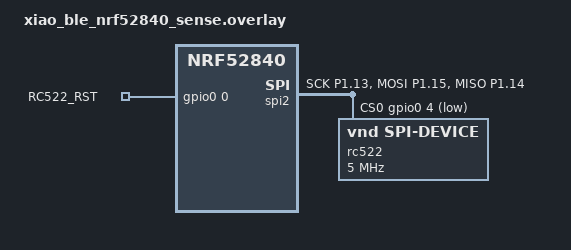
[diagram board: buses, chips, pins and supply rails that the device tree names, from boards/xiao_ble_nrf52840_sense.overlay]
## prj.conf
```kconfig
CONFIG_BT=y
CONFIG_BT_PERIPHERAL=y
CONFIG_BT_ZEPHYR_NUS=y
CONFIG_BT_DEVICE_NAME="MAKING-WAVES-RFID"
CONFIG_BT_OBSERVER=y

CONFIG_BT_GATT_CLIENT=y
CONFIG_BT_L2CAP_TX_MTU=512
CONFIG_BT_BUF_ACL_TX_SIZE=511
CONFIG_BT_BUF_ACL_RX_SIZE=511

CONFIG_SPI=y
CONFIG_PINCTRL=y
CONFIG_GPIO=y

CONFIG_STDOUT_CONSOLE=y
CONFIG_SPI=y

CONFIG_NEWLIB_LIBC=y 
CONFIG_NEWLIB_LIBC_FLOAT_PRINTF=y
CONFIG_FPU=y
CONFIG_FPU_SHARING=y

CONFIG_LOG=y

CONFIG_MAIN_STACK_SIZE=2048

CONFIG_NVS=y
CONFIG_FLASH=y
CONFIG_FLASH_MAP=y
CONFIG_MPU_ALLOW_FLASH_WRITE=y
```

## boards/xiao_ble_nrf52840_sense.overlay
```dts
&spi2 {
    compatible = "nordic,nrf-spim";
    status = "okay";

    pinctrl-0 = <&spi2_default>;
    pinctrl-1 = <&spi2_sleep>;
    pinctrl-names = "default", "sleep";

    cs-gpios = <&gpio0 4 GPIO_ACTIVE_LOW>;  /* D4 = P0.04 */

    rc522: rc522@0 {
        compatible = "vnd,spi-device";
        reg = <0>;
        spi-max-frequency = <5000000>;
    };
};

&pinctrl {
    spi2_default: spi2_default {
        group1 {
            psels = <NRF_PSEL(SPIM_SCK,  1, 13)>,  /* D8  = P1.13 */
                    <NRF_PSEL(SPIM_MOSI, 1, 15)>,  /* D10 = P1.15 */
                    <NRF_PSEL(SPIM_MISO, 1, 14)>;  /* D9  = P1.14 */
        };
    };
    spi2_sleep: spi2_sleep {
        group1 {
            psels = <NRF_PSEL(SPIM_SCK,  1, 13)>,
                    <NRF_PSEL(SPIM_MOSI, 1, 15)>,
                    <NRF_PSEL(SPIM_MISO, 1, 14)>;
            low-power-enable;
        };
    };
};

/ {
    rc522_pins {
        compatible = "gpio-leds";
        status = "okay";
        rc522_rst: rc522_rst_0 {
            gpios = <&gpio0 0 GPIO_ACTIVE_HIGH>;  /* D3 = P0.29 */
            label = "RC522_RST";
        };
    };
};
```

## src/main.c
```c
/*
 * Copyright (c) 2024 Croxel, Inc.
 *
 * SPDX-License-Identifier: Apache-2.0
 */

#include <zephyr/kernel.h>
#include <zephyr/bluetooth/bluetooth.h>
#include <zephyr/bluetooth/services/nus.h>
#include <zephyr/bluetooth/hci.h>
#include <zephyr/drivers/gpio.h>
#include <zephyr/drivers/spi.h>
#include <zephyr/device.h>
#include <zephyr/logging/log.h>
#include <zephyr/fs/nvs.h>
#include <zephyr/storage/flash_map.h>
#include <zephyr/drivers/flash.h>

#define NVS_PARTITION        storage_partition
#define NVS_PARTITION_DEVICE FIXED_PARTITION_DEVICE(NVS_PARTITION)
#define NVS_PARTITION_OFFSET FIXED_PARTITION_OFFSET(NVS_PARTITION)

#define NVS_KEY_DIFFICULTY   1  /* unique ID for difficulty entry */

#define LED1_NODE DT_ALIAS(led1) //green
#define LED2_NODE DT_ALIAS(led2) //blue
#define LED0_NODE DT_ALIAS(led0) //red

static const struct gpio_dt_spec led_green = GPIO_DT_SPEC_GET(LED1_NODE, gpios);
static const struct gpio_dt_spec led_blue = GPIO_DT_SPEC_GET(LED2_NODE, gpios);
static const struct gpio_dt_spec led_red = GPIO_DT_SPEC_GET(LED0_NODE, gpios);

static struct nvs_fs nvs;

#define DIFFICULTY_MAX_LEN 4
static char g_difficulty[DIFFICULTY_MAX_LEN] = "hrd";  /* default */


#define DEVICE_NAME		CONFIG_BT_DEVICE_NAME
#define DEVICE_NAME_LEN		(sizeof(DEVICE_NAME) - 1)
LOG_MODULE_REGISTER(rc522, LOG_LEVEL_INF);

/* Device tree bindings */
#define RC522_NODE DT_NODELABEL(rc522)

static const struct spi_dt_spec rc522_spi = SPI_DT_SPEC_GET(RC522_NODE,
    SPI_OP_MODE_MASTER | SPI_TRANSFER_MSB | SPI_WORD_SET(8));

static const struct gpio_dt_spec rc522_rst =
    GPIO_DT_SPEC_GET(DT_NODELABEL(rc522_rst), gpios);

/* RC522 Register Addresses */
#define RC522_REG_COMMAND       0x01
#define RC522_REG_COM_IEN       0x02
#define RC522_REG_COM_IRQ       0x04
#define RC522_REG_ERROR         0x06
#define RC522_REG_FIFO_DATA     0x09
#define RC522_REG_FIFO_LEVEL    0x0A
#define RC522_REG_CONTROL       0x0C
#define RC522_REG_BIT_FRAMING   0x0D
#define RC522_REG_MODE          0x11
#define RC522_REG_TX_CONTROL    0x14
#define RC522_REG_TX_ASK        0x15
#define RC522_REG_CRC_RESULT_H  0x21
#define RC522_REG_CRC_RESULT_L  0x22
#define RC522_REG_VERSION       0x37

/* RC522 Commands */
#define RC522_CMD_IDLE          0x00
#define RC522_CMD_MEM           0x01
#define RC522_CMD_CALC_CRC      0x03
#define RC522_CMD_TRANSMIT      0x04
#define RC522_CMD_RECEIVE       0x08
#define RC522_CMD_TRANSCEIVE    0x0C
#define RC522_CMD_SOFT_RESET    0x0F

#define MFRC522_REG_COMM_IE_N    0x02
#define MFRC522_REG_COMM_IRQ     0x04
#define MFRC522_REG_DIV_IRQ      0x05
#define MFRC522_REG_ERROR        0x06
#define MFRC522_REG_FIFO_DATA    0x09
#define MFRC522_REG_FIFO_LEVEL   0x0A
#define MFRC522_REG_CONTROL      0x0C
#define MFRC522_REG_BIT_FRAMING  0x0D
#define MFRC522_REG_COMMAND      0x01
#define MFRC522_REG_TX_CONTROL   0x14
#define MFRC522_REG_CRC_RESULT_L 0x22
#define MFRC522_REG_CRC_RESULT_M 0x21
#define MFRC522_MAX_LEN          16

#define PCD_IDLE                 0x00
#define PCD_AUTHENT              0x0E
#define PCD_TRANSCEIVE           0x0C
#define PCD_CALCCRC              0x03

#define PICC_REQIDL              0x26
#define PICC_ANTICOLL            0x93
#define PICC_HALT                0x50


uint8_t id[5];

typedef struct {
    uint8_t uid[4];
    const char *colour;
} rfid_card_t;

static const rfid_card_t known_cards[] = {
    { {0x4d, 0x4e, 0xc0, 0x01}, "purple" },
    { {0x4e, 0xe5, 0xc0, 0x01}, "green"  },
    { {0xb2, 0x7c, 0xc7, 0x01}, "yellow" },
};

/* -----------------------------------------------------------------------
 * Low-level SPI read/write
 * --------------------------------------------------------------------- */

 static void nvs_init(void)
{
    struct flash_pages_info info;
    int err;

    nvs.flash_device = NVS_PARTITION_DEVICE;
    if (!device_is_ready(nvs.flash_device)) {
        LOG_ERR("NVS flash device not ready");
        return;
    }

    nvs.offset = NVS_PARTITION_OFFSET;
    err = flash_get_page_info_by_offs(nvs.flash_device, nvs.offset, &info);
    if (err) {
        LOG_ERR("NVS flash page info error: %d", err);
        return;
    }

    nvs.sector_size  = info.size;
    nvs.sector_count = 2;

    err = nvs_mount(&nvs);
    if (err) {
        LOG_ERR("NVS mount failed: %d", err);
        return;
    }

    LOG_INF("NVS mounted");
}

static void save_difficulty(const char *mode)
{
    int err = nvs_write(&nvs, NVS_KEY_DIFFICULTY, mode, strlen(mode) + 1);
    if (err < 0) {
        LOG_ERR("Failed to save difficulty: %d", err);
    } else {
        LOG_INF("Difficulty saved: %s", mode);
    }
}

static void load_difficulty(char *buf, size_t len)
{
    int err = nvs_read(&nvs, NVS_KEY_DIFFICULTY, buf, len);
    if (err < 0) {
        LOG_WRN("No saved difficulty, defaulting to hard");
        strncpy(buf, "hrd", len);
    } else {
        LOG_INF("Loaded difficulty: %s", buf);
    }
}

static int rc522_write_reg(uint8_t reg, uint8_t val)
{
    /* Address byte: MSB=0 (write), bits[6:1]=addr, LSB=0 */
    uint8_t tx_buf[2] = { (reg << 1) & 0x7E, val };
    struct spi_buf tx[] = {{ .buf = tx_buf, .len = 2 }};
    struct spi_buf_set tx_set = { .buffers = tx, .count = 1 };

    return spi_write_dt(&rc522_spi, &tx_set);
}

static int rc522_read_reg(uint8_t reg, uint8_t *val)
{
    /* Address byte: MSB=1 (read), bits[6:1]=addr, LSB=0 */
    uint8_t tx_buf[2] = { ((reg << 1) & 0x7E) | 0x80, 0x00 };
    uint8_t rx_buf[2] = { 0 };
    struct spi_buf tx[] = {{ .buf = tx_buf, .len = 2 }};
    struct spi_buf rx[] = {{ .buf = rx_buf, .len = 2 }};
    struct spi_buf_set tx_set = { .buffers = tx, .count = 1 };
    struct spi_buf_set rx_set = { .buffers = rx, .count = 1 };

    int err = spi_transceive_dt(&rc522_spi, &tx_set, &rx_set);
    *val = rx_buf[1];
    return err;
}

static int rc522_set_bits(uint8_t reg, uint8_t mask)
{
    uint8_t val;
    int err = rc522_read_reg(reg, &val);
    if (err) return err;
    return rc522_write_reg(reg, val | mask);
}

static int rc522_clear_bits(uint8_t reg, uint8_t mask)
{
    uint8_t val;
    int err = rc522_read_reg(reg, &val);
    if (err) return err;
    return rc522_write_reg(reg, val & ~mask);
}

/* -----------------------------------------------------------------------
 * Hardware reset
 * --------------------------------------------------------------------- */

static int rc522_hw_reset(void)
{
    if (!gpio_is_ready_dt(&rc522_rst)) {
        LOG_ERR("RST GPIO not ready");
        return -ENODEV;
    }

    int err = gpio_pin_configure_dt(&rc522_rst, GPIO_OUTPUT_ACTIVE);
    if (err) return err;

    gpio_pin_set_dt(&rc522_rst, 0);  /* assert reset */
    k_msleep(10);
    gpio_pin_set_dt(&rc522_rst, 1);  /* release reset */
    k_msleep(50);                     /* wait for oscillator to stabilise */

    return 0;
}

/* -----------------------------------------------------------------------
 * Full init sequence
 * --------------------------------------------------------------------- */

int rc522_init(void)
{
    if (!spi_is_ready_dt(&rc522_spi)) {
        LOG_ERR("SPI device not ready");
        return -ENODEV;
    }

    rc522_hw_reset();

    /* Software reset */
    rc522_write_reg(RC522_REG_COMMAND, RC522_CMD_SOFT_RESET);
    k_msleep(50);

    rc522_write_reg(0x2A, 0x80);
    rc522_write_reg(0x2B, 0xA9);
    rc522_write_reg(0x2C, 0xE8);
    rc522_write_reg(0x2D, 0x03);

    /* Modulation */
    rc522_write_reg(RC522_REG_TX_ASK, 0x40);
    rc522_write_reg(RC522_REG_MODE, 0x3D);

    /* Antenna on */
    rc522_set_bits(RC522_REG_TX_CONTROL, 0x03);

    /* Read version just for info */
    uint8_t version;
    rc522_read_reg(RC522_REG_VERSION, &version);
    LOG_INF("RC522 version: 0x%02x", version);

    LOG_INF("RC522 initialised successfully");
    return 0;
}

/* Send REQA command and check for response */
static int rc522_detect_card(void)
{
    uint8_t buffer[2];
    uint8_t buffer_size = sizeof(buffer);

    /* Prepare for transmission */
    rc522_write_reg(RC522_REG_COMMAND, RC522_CMD_IDLE);
    rc522_write_reg(RC522_REG_COM_IRQ, 0x7F);           /* clear interrupts */
    rc522_write_reg(RC522_REG_FIFO_LEVEL, 0x80);        /* flush FIFO */
    rc522_write_reg(RC522_REG_FIFO_DATA, 0x26);         /* REQA command */
    rc522_write_reg(RC522_REG_BIT_FRAMING, 0x07);       /* 7 bits */
    rc522_write_reg(RC522_REG_COMMAND, RC522_CMD_TRANSCEIVE);
    rc522_set_bits(RC522_REG_BIT_FRAMING, 0x80);        /* start transmission */

    /* Wait for response with timeout */
    uint8_t irq;
    int timeout = 50;
    do {
        rc522_read_reg(RC522_REG_COM_IRQ, &irq);
        k_msleep(1);
    } while (--timeout && !(irq & 0x30));  /* wait for RxIRq or IdleIRq */

    if (timeout == 0) {
        return -ETIMEDOUT;  /* no card */
    }

    /* Check for errors */
    uint8_t error;
    rc522_read_reg(RC522_REG_ERROR, &error);
    if (error & 0x1B) {
        return -EIO;
    }

    /* Check FIFO has data */
    uint8_t fifo_level;
    rc522_read_reg(RC522_REG_FIFO_LEVEL, &fifo_level);
    if (fifo_level == 0) {
        return -ENODATA;
    }

    return 0;  /* card detected */
}

static void rc522_calculateCRC(uint8_t *pIndata, uint8_t len, uint8_t *pOutData)
{
    uint8_t i, n;

    rc522_clear_bits(MFRC522_REG_DIV_IRQ, 0x04);
    rc522_set_bits(MFRC522_REG_FIFO_LEVEL, 0x80);

    for (i = 0; i < len; i++) {
        rc522_write_reg(MFRC522_REG_FIFO_DATA, *(pIndata + i));
    }
    rc522_write_reg(MFRC522_REG_COMMAND, PCD_CALCCRC);

    i = 0xFF;
    do {
        rc522_read_reg(MFRC522_REG_DIV_IRQ, &n);
        i--;
    } while ((i != 0) && !(n & 0x04));

    rc522_read_reg(MFRC522_REG_CRC_RESULT_L, &pOutData[0]);
    rc522_read_reg(MFRC522_REG_CRC_RESULT_M, &pOutData[1]);
}

static bool rc522_toCard(uint8_t command, uint8_t *sendData, uint8_t sendLen,
                         uint8_t *backData, uint16_t *backLen)
{
    bool status = false;
    uint8_t irqEn = 0x00;
    uint8_t waitIRq = 0x00;
    uint8_t lastBits, n;
    uint16_t i;

    switch (command) {
    case PCD_AUTHENT:
        irqEn = 0x12;
        waitIRq = 0x10;
        break;
    case PCD_TRANSCEIVE:
        irqEn = 0x77;
        waitIRq = 0x30;
        break;
    default:
        break;
    }

    rc522_write_reg(MFRC522_REG_COMM_IE_N, irqEn | 0x80);
    rc522_clear_bits(MFRC522_REG_COMM_IRQ, 0x80);
    rc522_set_bits(MFRC522_REG_FIFO_LEVEL, 0x80);
    rc522_write_reg(MFRC522_REG_COMMAND, PCD_IDLE);

    for (i = 0; i < sendLen; i++) {
        rc522_write_reg(MFRC522_REG_FIFO_DATA, sendData[i]);
    }

    rc522_write_reg(MFRC522_REG_COMMAND, command);
    if (command == PCD_TRANSCEIVE) {
        rc522_set_bits(MFRC522_REG_BIT_FRAMING, 0x80);
    }

    i = 100;
    do {
        rc522_read_reg(MFRC522_REG_COMM_IRQ, &n);
        i--;
    } while ((i != 0) && !(n & 0x01) && !(n & waitIRq));

    rc522_clear_bits(MFRC522_REG_BIT_FRAMING, 0x80);

    if (i != 0) {
        uint8_t err;
        rc522_read_reg(MFRC522_REG_ERROR, &err);
        if (!(err & 0x1B)) {
            status = true;
            if (n & irqEn & 0x01) {
                status = false;
            }

            if (command == PCD_TRANSCEIVE) {
                uint8_t fifo_level;
                rc522_read_reg(MFRC522_REG_FIFO_LEVEL, &fifo_level);
                n = fifo_level;
                lastBits = 0;
                rc522_read_reg(MFRC522_REG_CONTROL, &lastBits);
                lastBits &= 0x07;

                if (lastBits) {
                    *backLen = (n - 1) * 8 + lastBits;
                } else {
                    *backLen = n * 8;
                }

                if (n == 0) n = 1;
                if (n > MFRC522_MAX_LEN) n = MFRC522_MAX_LEN;

                for (i = 0; i < n; i++) {
                    rc522_read_reg(MFRC522_REG_FIFO_DATA, &backData[i]);
                }

                if (fifo_level == 4) {
                    LOG_INF("Card data: %02x %02x %02x %02x",
                        backData[0], backData[1], backData[2], backData[3]);
                }
                return status;
            }
        } else {
            LOG_ERR("RC522 toCard error");
            status = false;
        }
    }

    return status;
}

static bool rc522_request(uint8_t reqMode, uint8_t *tagType)
{
    uint16_t backBits;

    rc522_write_reg(MFRC522_REG_BIT_FRAMING, 0x07);
    tagType[0] = reqMode;

    bool status = rc522_toCard(PCD_TRANSCEIVE, tagType, 1, tagType, &backBits);
    if (!status || backBits != 0x10) {
        status = false;
    }
    return status;
}

static bool rc522_antiColl(uint8_t *serNum)
{
    uint16_t unLen;
    uint8_t serNumCheck = 0;

    rc522_write_reg(MFRC522_REG_BIT_FRAMING, 0x00);
    serNum[0] = PICC_ANTICOLL;
    serNum[1] = 0x20;

    bool status = rc522_toCard(PCD_TRANSCEIVE, serNum, 2, serNum, &unLen);

    if (status) {
        uint8_t i;
        for (i = 0; i < 4; i++) {
            serNumCheck ^= serNum[i];
        }
        if (serNumCheck != serNum[i]) {
            status = false;
        }
    }
    return status;
}

static void rc522_halt(void)
{
    uint16_t unLen;
    uint8_t buff[4];

    buff[0] = PICC_HALT;
    buff[1] = 0;
    rc522_calculateCRC(buff, 2, &buff[2]);
    rc522_toCard(PCD_TRANSCEIVE, buff, 4, buff, &unLen);
}

bool rc522_checkCard(uint8_t *id)
{
    bool status = rc522_request(PICC_REQIDL, id);
    if (status) {
        status = rc522_antiColl(id);
    }
    rc522_halt();
    return status;
}

static void flash_colour(const char *colour)
{
    /* Set all off first */
    gpio_pin_configure_dt(&led_red,   GPIO_OUTPUT_INACTIVE);
    gpio_pin_configure_dt(&led_green, GPIO_OUTPUT_INACTIVE);
    gpio_pin_configure_dt(&led_blue,  GPIO_OUTPUT_INACTIVE);

    if (strcmp(colour, "purple") == 0) {
        gpio_pin_configure_dt(&led_red,  GPIO_OUTPUT_ACTIVE);
        gpio_pin_configure_dt(&led_blue, GPIO_OUTPUT_ACTIVE);
    } else if (strcmp(colour, "green") == 0) {
        gpio_pin_configure_dt(&led_green, GPIO_OUTPUT_ACTIVE);
    } else if (strcmp(colour, "yellow") == 0) {
        gpio_pin_configure_dt(&led_red,   GPIO_OUTPUT_ACTIVE);
        gpio_pin_configure_dt(&led_green, GPIO_OUTPUT_ACTIVE);
    } else if (strcmp(colour, "white") == 0) {
        gpio_pin_configure_dt(&led_red,   GPIO_OUTPUT_ACTIVE);
        gpio_pin_configure_dt(&led_green, GPIO_OUTPUT_ACTIVE);
        gpio_pin_configure_dt(&led_blue,  GPIO_OUTPUT_ACTIVE);
    }

    k_msleep(1000);

    gpio_pin_configure_dt(&led_red,   GPIO_OUTPUT_INACTIVE);
    gpio_pin_configure_dt(&led_green, GPIO_OUTPUT_INACTIVE);
    gpio_pin_configure_dt(&led_blue,  GPIO_OUTPUT_INACTIVE);
}


/* == Advertising data ===================================================== */
static const struct bt_data ad[] = {
	BT_DATA_BYTES(BT_DATA_FLAGS, (BT_LE_AD_GENERAL | BT_LE_AD_NO_BREDR)),
	BT_DATA(BT_DATA_NAME_COMPLETE, DEVICE_NAME, DEVICE_NAME_LEN),
};

static const struct bt_data sd[] = {
	BT_DATA_BYTES(BT_DATA_UUID128_ALL, BT_UUID_NUS_SRV_VAL),
};

/* == NUS callbacks ======================================================== */
static void notif_enabled(bool enabled, void *ctx)
{
	ARG_UNUSED(ctx);

	printk("%s() - %s\n", __func__, (enabled ? "Enabled" : "Disabled"));
}

static void received(struct bt_conn *conn, const void *data, uint16_t len, void *ctx)
{
	ARG_UNUSED(conn);
	ARG_UNUSED(ctx);

	printk("%s() - Len: %d, Message: %.*s\n", __func__, len, len, (char *)data);

    if (len == 3 && strncmp((const char *)data, "esy", 3) == 0) {
        strncpy(g_difficulty, "esy", sizeof(g_difficulty));
        save_difficulty("esy");
        LOG_INF("Difficulty set to easy");
        flash_colour("yellow");
        return;
    }

    if (len == 3 && strncmp((const char *)data, "med", 3) == 0) {
        strncpy(g_difficulty, "med", sizeof(g_difficulty));
        save_difficulty("med");
        LOG_INF("Difficulty set to medium");
        flash_colour("yellow");
        flash_colour("green");
        return;
    }

    if (len == 3 && strncmp((const char *)data, "hrd", 3) == 0) {
        strncpy(g_difficulty, "hrd", sizeof(g_difficulty));
        save_difficulty("hrd");
        LOG_INF("Difficulty set to hard");
        flash_colour("yellow");
        flash_colour("green");
        flash_colour("purple");
        return;
    }
}

struct bt_nus_cb nus_listener = {
	.notif_enabled = notif_enabled,
	.received = received,
};

/* == Scan callback ======================================================== */
#define APPLE_COMPANY_ID     0x004C
#define IBEACON_TYPE         0x02
#define IBEACON_LENGTH       0x15

static bool extract_ibeacon(struct net_buf_simple *buf,
                             uint8_t *uuid,      /* 16 bytes out */
                             uint16_t *major,
                             uint16_t *minor)
{
    *major    = 0;
    *minor    = 0;

    struct net_buf_simple_state state;
    net_buf_simple_save(buf, &state);

    while (buf->len > 1) {
        uint8_t len  = net_buf_simple_pull_u8(buf);
        if (len == 0 || len > buf->len) break;

        uint8_t type = net_buf_simple_pull_u8(buf);
        len--;

        if (type == BT_DATA_MANUFACTURER_DATA && len >= 25) {
            /* Company ID - little-endian uint16 */
            uint16_t company = net_buf_simple_pull_le16(buf);
            len -= 2;

            if (company == APPLE_COMPANY_ID) {
                uint8_t ib_type   = net_buf_simple_pull_u8(buf);
                uint8_t ib_length = net_buf_simple_pull_u8(buf);
                len -= 2;

                if (ib_type == IBEACON_TYPE && ib_length == IBEACON_LENGTH && len >= 21) {
                    /* 16-byte UUID */
                    memcpy(uuid, net_buf_simple_pull_mem(buf, 16), 16);

                    /* Major / minor are big-endian in iBeacon */
                    *major    = net_buf_simple_pull_be16(buf);
                    *minor    = net_buf_simple_pull_be16(buf);

                    net_buf_simple_restore(buf, &state);
                    return true;
                }
            }
        }

        /* Skip remainder of this AD structure */
        if (len > 0) {
            net_buf_simple_pull_mem(buf, len);
        }
    }

    net_buf_simple_restore(buf, &state);
    return false;
}


static void scan_cb(const bt_addr_le_t *addr, int8_t rssi,
                    uint8_t adv_type, struct net_buf_simple *buf)
{
    char     addr_str[BT_ADDR_LE_STR_LEN];
    uint8_t  uuid[16] = {0};
    uint16_t major    = 0;
    uint16_t minor    = 0;
    char     json[512];
    int      json_len;

    bt_addr_le_to_str(addr, addr_str, sizeof(addr_str));

}

/* == Scan parameters ====================================================== */
static struct bt_le_scan_param scan_params = {
    .type     = BT_LE_SCAN_TYPE_PASSIVE,
    .options  = BT_LE_SCAN_OPT_NONE,
    .interval = BT_GAP_SCAN_FAST_INTERVAL,
    .window   = BT_GAP_SCAN_FAST_WINDOW,
};

static void exchange_func(struct bt_conn *conn, uint8_t err,
                          struct bt_gatt_exchange_params *params)
{
    if (!err) {
        printk("MTU exchange done, MTU: %d\n", bt_gatt_get_mtu(conn));
    } else {
        printk("MTU exchange failed: %d\n", err);
    }
}

static struct bt_gatt_exchange_params exchange_params = {
    .func = exchange_func,
};

static void connected(struct bt_conn *conn, uint8_t err)
{
    if (err) {
        printk("Connection failed: %d\n", err);
        return;
    }
    printk("Connected\n");

    err = bt_gatt_exchange_mtu(conn, &exchange_params);
    if (err) {
        printk("MTU exchange failed to start: %d\n", err);
    }
}

static void adv_restart_work_fn(struct k_work *work)
{
    int err = bt_le_adv_start(BT_LE_ADV_CONN_FAST_1, ad, ARRAY_SIZE(ad), sd, ARRAY_SIZE(sd));
    if (err) {
        printk("Failed to restart advertising: %d\n", err);
    } else {
        printk("Advertising restarted\n");
    }
}

static K_WORK_DELAYABLE_DEFINE(adv_restart_work, adv_restart_work_fn);

static void disconnected(struct bt_conn *conn, uint8_t reason)
{
    printk("Disconnected, reason: %d\n", reason);
    k_work_schedule(&adv_restart_work, K_MSEC(500));
}

BT_CONN_CB_DEFINE(conn_callbacks) = {
    .connected    = connected,
    .disconnected = disconnected,
};

static void flash_difficulty_led(void)
{
    if (strcmp(g_difficulty, "esy") == 0) {
        flash_colour("yellow");
    } else if (strcmp(g_difficulty, "med") == 0) {
        flash_colour("yellow");
        flash_colour("green");
    } else{
        flash_colour("yellow");
        flash_colour("green");
        flash_colour("purple");
    }
}


/* == Entry point ========================================================== */
int main(void)
{

    //  k_msleep(2000);

     int err;

	printk("RFID Scanner Peripheral\n");

    nvs_init();
    load_difficulty(g_difficulty, sizeof(g_difficulty));
    LOG_INF("Starting with difficulty: %s", g_difficulty);

    /* == NUS callback registration ============ */
	err = bt_nus_cb_register(&nus_listener, NULL);
	if (err) {
		printk("Failed to register NUS callback: %d\n", err);
		return err;
	}

    /* == Bluetooth init =================================================== */
	err = bt_enable(NULL);
	if (err) {
		printk("Failed to enable bluetooth: %d\n", err);
		return err;
	}

    /* == Advertise so a NUS central can connect =========================== */
	err = bt_le_adv_start(BT_LE_ADV_CONN_FAST_1, ad, ARRAY_SIZE(ad), sd, ARRAY_SIZE(sd));
	if (err) {
		printk("Failed to start advertising: %d\n", err);
		return err;
	}

    /* == Start scanning simultaneously ==================================== */
    err = bt_le_scan_start(&scan_params, scan_cb);
    if (err) {
        printk("Failed to start scanning: %d\n", err);
        return err;
    }

	printk("Initialization complete\n");

    char json[128];

    if (rc522_init() != 0) {
        LOG_ERR("RC522 init failed, halting");
        gpio_pin_configure_dt(&led_red, GPIO_OUTPUT_ACTIVE);
        return -1;
    }

    printk("RC522 ready, waiting for card...\n");
    flash_difficulty_led();

        while (1) {
    if (rc522_checkCard(id)) {
        const char *colour = NULL;
        for (int i = 0; i < ARRAY_SIZE(known_cards); i++) {
            if (memcmp(id, known_cards[i].uid, 4) == 0) {
                colour = known_cards[i].colour;

                int json_len = snprintf(json, sizeof(json),
                    "{\"TYPE\":\"rfid\","
                    "\"SCANNED\":\"%s\"}\r\n",
                    colour);
                printk("%s", json);
                if (json_len > 0 && json_len < sizeof(json)) {
                    err = bt_nus_send(NULL, (uint8_t *)json, (uint16_t)json_len);
                    if (err < 0 && err != -EAGAIN && err != -ENOTCONN) {
                        printk("bt_nus_send failed: %d\n", err);
                    }
                }
                break;
            }
        }

        /* Determine flash colour based on difficulty */
        const char *flash = "white";  /* default — unknown card */
        if (colour != NULL) {
            if (strcmp(g_difficulty, "esy") == 0) {
                /* easy: only yellow flashes colour */
                if (strcmp(colour, "yellow") == 0) {
                    flash = "yellow";
                } else {
                    flash = "white";
                }
            } else if (strcmp(g_difficulty, "med") == 0) {
                /* medium: yellow and green flash colour */
                if (strcmp(colour, "yellow") == 0 ||
                    strcmp(colour, "green")  == 0) {
                    flash = colour;
                } else {
                    flash = "white";
                }
            } else {
                /* hard: all cards flash their colour */
                flash = colour;
            }
        }

        flash_colour(flash);
        k_msleep(100);
    }
    k_msleep(100);
}

return 0;
}
```
